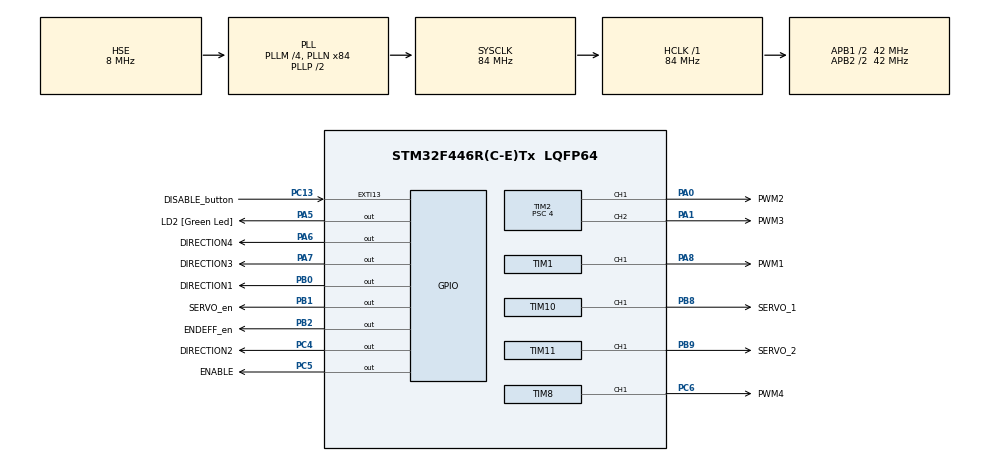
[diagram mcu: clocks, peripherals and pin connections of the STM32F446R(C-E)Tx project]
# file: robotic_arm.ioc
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Mcu.Family=STM32F4
Mcu.Name=STM32F446R(C-E)Tx
Mcu.Package=LQFP64
NVIC.EXTI15_10_IRQn=true\:0\:0\:true\:false\:true\:true\:true\:true
NVIC.PriorityGroup=NVIC_PRIORITYGROUP_1
NVIC.TIM1_CC_IRQn=true\:1\:0\:true\:false\:true\:true\:true\:true
NVIC.TIM2_IRQn=true\:1\:0\:true\:false\:true\:true\:true\:true
NVIC.TIM8_BRK_TIM12_IRQn=true\:1\:0\:true\:false\:true\:true\:true\:true
NVIC.TIM8_CC_IRQn=true\:1\:0\:true\:false\:true\:true\:true\:true
NVIC.TIM8_TRG_COM_TIM14_IRQn=true\:1\:0\:true\:false\:true\:true\:true\:true
NVIC.TIM8_UP_TIM13_IRQn=true\:1\:0\:true\:false\:true\:true\:true\:true
PA0-WKUP.GPIO_Label=PWM2
PA0-WKUP.Signal=S_TIM2_CH1_ETR
PA1.GPIO_Label=PWM3
PA1.Signal=S_TIM2_CH2
PA13.GPIO_Label=TMS
PA13.Mode=Serial_Wire
PA13.Signal=SYS_JTMS-SWDIO
PA14.GPIO_Label=TCK
PA14.Mode=Serial_Wire
PA14.Signal=SYS_JTCK-SWCLK
PA2.GPIO_Label=USART_TX
PA2.Signal=USART2_TX
PA5.GPIO_Label=LD2 [Green Led]
PA5.Signal=GPIO_Output
PA6.GPIO_Label=DIRECTION4
PA6.GPIO_PuPd=GPIO_PULLDOWN
PA6.Signal=GPIO_Output
PA7.GPIO_Label=DIRECTION3
PA7.GPIO_PuPd=GPIO_PULLDOWN
PA7.Signal=GPIO_Output
PA8.GPIO_Label=PWM1
PA8.Signal=S_TIM1_CH1
PB0.GPIO_Label=DIRECTION1
PB0.GPIO_ModeDefaultOutputPP=GPIO_MODE_OUTPUT_PP
PB0.GPIO_PuPd=GPIO_PULLDOWN
PB0.Signal=GPIO_Output
PB1.GPIO_Label=SERVO_en
PB1.GPIO_PuPd=GPIO_PULLDOWN
PB1.PinState=GPIO_PIN_RESET
PB1.Signal=GPIO_Output
PB2.GPIO_Label=ENDEFF_en
PB2.GPIO_PuPd=GPIO_PULLUP
PB2.PinState=GPIO_PIN_SET
PB2.Signal=GPIO_Output
PB3.GPIO_Label=SWO
PB3.Signal=SYS_JTDO-SWO
PB8.GPIO_Label=SERVO_1
PB8.Signal=S_TIM10_CH1
PB9.GPIO_Label=SERVO_2
PB9.Signal=S_TIM11_CH1
PC13.GPIO_Label=DISABLE_button
PC13.Signal=GPXTI13
PC14-OSC32_IN.Mode=LSE-External-Oscillator
PC14-OSC32_IN.Signal=RCC_OSC32_IN
PC15-OSC32_OUT.Mode=LSE-External-Oscillator
PC15-OSC32_OUT.Signal=RCC_OSC32_OUT
PC4.GPIO_Label=DIRECTION2
PC4.GPIO_PuPd=GPIO_PULLDOWN
PC4.Signal=GPIO_Output
PC5.GPIO_Label=ENABLE
PC5.GPIO_PuPd=GPIO_PULLUP
PC5.GPIO_Speed=GPIO_SPEED_FREQ_HIGH
PC5.PinState=GPIO_PIN_SET
PC5.Signal=GPIO_Output
PC6.GPIO_Label=PWM4
PC6.Signal=S_TIM8_CH1
PH0-OSC_IN.Mode=HSE-External-Oscillator
PH0-OSC_IN.Signal=RCC_OSC_IN
PH1-OSC_OUT.Mode=HSE-External-Oscillator
PH1-OSC_OUT.Signal=RCC_OSC_OUT
ProjectManager.HeapSize=0x200
ProjectManager.StackSize=0x400
ProjectManager.TargetToolchain=STM32CubeIDE
RCC.48MHZClocksFreq_Value=84000000
RCC.AHBFreq_Value=84000000
RCC.APB1CLKDivider=RCC_HCLK_DIV2
RCC.APB1Freq_Value=42000000
RCC.APB1TimFreq_Value=84000000
RCC.APB2CLKDivider=RCC_HCLK_DIV2
RCC.APB2Freq_Value=42000000
RCC.APB2TimFreq_Value=84000000
RCC.CortexFreq_Value=84000000
RCC.FLatency-AdvancedSettings=FLASH_LATENCY_2
RCC.HCLKFreq_Value=84000000
RCC.HSE_VALUE=8000000
RCC.HSI_VALUE=16000000
RCC.PLLM=4
RCC.PLLN=84
RCC.PLLSourceVirtual=RCC_PLLSOURCE_HSE
RCC.SYSCLKFreq_VALUE=84000000
RCC.SYSCLKSource=RCC_SYSCLKSOURCE_PLLCLK
RCC.USBFreq_Value=84000000
RCC.VCOOutputFreq_Value=168000000
SH.S_TIM10_CH1.0=TIM10_CH1,PWM Generation1 CH1
SH.S_TIM11_CH1.0=TIM11_CH1,PWM Generation1 CH1
SH.S_TIM1_CH1.0=TIM1_CH1,PWM Generation1 CH1
SH.S_TIM2_CH1_ETR.0=TIM2_CH1,PWM Generation1 CH1
SH.S_TIM2_CH2.0=TIM2_CH2,PWM Generation2 CH2
SH.S_TIM8_CH1.0=TIM8_CH1,PWM Generation1 CH1
TIM1.AutoReloadPreload=TIM_AUTORELOAD_PRELOAD_ENABLE
TIM1.Channel-PWM\ Generation1\ CH1=TIM_CHANNEL_1
TIM1.OCFastMode_PWM-PWM\ Generation1\ CH1=TIM_OCFAST_ENABLE
TIM1.Period=65535
TIM1.Prescaler=4
TIM1.Pulse-PWM\ Generation1\ CH1=32768
TIM1.TIM_MasterOutputTrigger=TIM_TRGO_UPDATE
TIM1.TIM_MasterSlaveMode=TIM_MASTERSLAVEMODE_ENABLE
TIM10.AutoReloadPreload=TIM_AUTORELOAD_PRELOAD_ENABLE
TIM10.Channel=TIM_CHANNEL_1
TIM10.OCFastMode_PWM=TIM_OCFAST_ENABLE
TIM10.Pulse=1
TIM11.AutoReloadPreload=TIM_AUTORELOAD_PRELOAD_ENABLE
TIM11.Channel=TIM_CHANNEL_1
TIM11.OCFastMode_PWM=TIM_OCFAST_ENABLE
TIM11.Pulse=1
TIM2.AutoReloadPreload=TIM_AUTORELOAD_PRELOAD_ENABLE
TIM2.Channel-PWM\ Generation1\ CH1=TIM_CHANNEL_1
TIM2.Channel-PWM\ Generation2\ CH2=TIM_CHANNEL_2
TIM2.OCFastMode_PWM-PWM\ Generation1\ CH1=TIM_OCFAST_ENABLE
TIM2.OCFastMode_PWM-PWM\ Generation2\ CH2=TIM_OCFAST_ENABLE
TIM2.Period=65535
TIM2.Prescaler=4
TIM2.Pulse-PWM\ Generation1\ CH1=32768
TIM2.Pulse-PWM\ Generation2\ CH2=32768
TIM2.TIM_MasterOutputTrigger=TIM_TRGO_UPDATE
TIM2.TIM_MasterSlaveMode=TIM_MASTERSLAVEMODE_ENABLE
TIM3.AutoReloadPreload=TIM_AUTORELOAD_PRELOAD_ENABLE
TIM3.CounterMode=TIM_COUNTERMODE_UP
TIM3.Period=199
TIM3.Prescaler=65535
TIM3.TIM_MasterOutputTrigger=TIM_TRGO_RESET
TIM3.TIM_MasterSlaveMode=TIM_MASTERSLAVEMODE_DISABLE
TIM4.AutoReloadPreload=TIM_AUTORELOAD_PRELOAD_ENABLE
TIM4.Period=199
TIM4.Prescaler=65535
TIM5.AutoReloadPreload=TIM_AUTORELOAD_PRELOAD_DISABLE
TIM5.Period=199
TIM5.Prescaler=65535
TIM5.TIM_MasterOutputTrigger=TIM_TRGO_RESET
TIM5.TIM_MasterSlaveMode=TIM_MASTERSLAVEMODE_DISABLE
TIM6.Period=59999
TIM6.Prescaler=1400*3
TIM8.AutoReloadPreload=TIM_AUTORELOAD_PRELOAD_ENABLE
TIM8.Channel-PWM\ Generation1\ CH1=TIM_CHANNEL_1
TIM8.OCFastMode_PWM-PWM\ Generation1\ CH1=TIM_OCFAST_ENABLE
TIM8.Period=65535
TIM8.Prescaler=4
TIM8.Pulse-PWM\ Generation1\ CH1=32768
TIM8.TIM_MasterOutputTrigger=TIM_TRGO_UPDATE
TIM8.TIM_MasterSlaveMode=TIM_MASTERSLAVEMODE_ENABLE
VP_TIM10_VS_ClockSourceINT.Mode=Enable_Timer
VP_TIM11_VS_ClockSourceINT.Mode=Enable_Timer
VP_TIM1_VS_ClockSourceINT.Mode=Internal
VP_TIM2_VS_ClockSourceINT.Mode=Internal
VP_TIM3_VS_ClockSourceINT.Mode=Internal
VP_TIM3_VS_ClockSourceITR.Mode=TriggerSource_ITR1
VP_TIM3_VS_ControllerModeTrigger.Mode=Trigger Mode
VP_TIM4_VS_ClockSourceINT.Mode=Internal
VP_TIM4_VS_ClockSourceITR.Mode=TriggerSource_ITR0
VP_TIM4_VS_ControllerModeTrigger.Mode=Trigger Mode
VP_TIM5_VS_ClockSourceINT.Mode=Internal
VP_TIM5_VS_ClockSourceITR.Mode=TriggerSource_ITR3
VP_TIM5_VS_ControllerModeTrigger.Mode=Trigger Mode
VP_TIM6_VS_ClockSourceINT.Mode=Enable_Timer
VP_TIM8_VS_ClockSourceINT.Mode=Internal
board=NUCLEO-F446RE

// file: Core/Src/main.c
/* USER CODE BEGIN Header */
/**
 ******************************************************************************
 * @file           : main.c
 * @brief          : Main program body
 ******************************************************************************
 * @attention
 *
 * Copyright (c) 2025 STMicroelectronics.
 * All rights reserved.
 *
 * This software is licensed under terms that can be found in the LICENSE file
 * in the root directory of this software component.
 * If no LICENSE file comes with this software, it is provided AS-IS.
 *
 ******************************************************************************
 */
/* USER CODE END Header */
#include "main.h"
#include "tim.h"
#include "gpio.h"

/* USER CODE BEGIN Includes */
#include "stepper.h"
#include "servo.h"
#include "end_eff_gpio.h"

#define TRAPEZOIDAL_PROFILE //COMMENT THIS IF YOU DON'T WANT THIS MOTION PROFILE FOR THE STEPPERS

#ifdef TRAPEZOIDAL_PROFILE
#include "trapezoidal_profile.h"
#include "trapezoidal_profile.c"
#endif

#ifndef TRAPEZOIDAL_PROFILE
#include "stp_callback.c"
#endif

/* USER CODE END Includes */

/* USER CODE BEGIN PV */
static stepper_obj stp1;
static stepper_obj stp2;
static stepper_obj stp3;
static stepper_obj stp4;
static servo_obj srv1;
static servo_obj srv2;

/* USER CODE END PV */

void SystemClock_Config(void);

int main(void) {

	/* MCU Configuration--------------------------------------------------------*/

	/* Reset of all peripherals, Initializes the Flash interface and the Systick. */
	HAL_Init();

	/* Configure the system clock */
	SystemClock_Config();

	/* Initialize all configured peripherals */
	MX_GPIO_Init();
	MX_TIM3_Init();
	MX_TIM5_Init();
	MX_TIM1_Init();
	MX_TIM2_Init();
	MX_TIM4_Init();
	MX_TIM8_Init();
	MX_TIM10_Init();
	MX_TIM11_Init();
	MX_TIM6_Init();
	/* USER CODE BEGIN 2 */
	HAL_TIM_Base_Start(&htim4); //start timer 1st joint
	HAL_TIM_Base_Start(&htim3); //start timer 2nd joint
	HAL_TIM_Base_Start(&htim5); //start timer 3rd joint

	HAL_GPIO_WritePin(ENABLE_GPIO_Port, ENABLE_Pin, GPIO_PIN_RESET); //ENABLE stepper motors

	/* stepper_init(obj, timer pwm, timer slave, resol, microstep, enable_port, direction_port */
	stepper_init(&stp1, &htim1, &htim4, 1.8, 4 * 4.27, DIRECTION1_GPIO_Port,
	DIRECTION1_Pin);
	stepper_init(&stp2, &htim2, &htim3, 1.8, 4 * 6, DIRECTION2_GPIO_Port,
	DIRECTION2_Pin);
	stepper_init(&stp3, &htim2, &htim3, 1.8, 4 * 6, DIRECTION3_GPIO_Port,
	DIRECTION3_Pin);
	stepper_init(&stp4, &htim8, &htim5, 1.8, 8 * 4.9, DIRECTION4_GPIO_Port,
	DIRECTION4_Pin);

	//servo: default position 0° in the range {-90,+90}
	/*servo_init(obj, timer pwm)*/
	servo_init(&srv1, &htim10);
	servo_init(&srv2, &htim11);

	stepper_move(&stp2, CLOCKWISE, 90, 10);
	stepper_move(&stp3, COUNTERCLOCKWISE, 90, 10);

	stepper_move(&stp4, CLOCKWISE, 20, 40);
	servo_move(&srv2, -20);

	end_eff_config(0, &htim6);

	HAL_Delay(3000);

	stepper_move(&stp2, COUNTERCLOCKWISE, 50, 10);
	stepper_move(&stp3, CLOCKWISE, 50, 10);

	stepper_move(&stp1, COUNTERCLOCKWISE, 60, 60);

	stepper_move(&stp4, CLOCKWISE, 40, 40);

	servo_move(&srv2, 0);

	HAL_Delay(3000);

	end_eff_config(0, &htim6);

	stepper_move(&stp1, CLOCKWISE, 60, 60);
	stepper_move(&stp4, COUNTERCLOCKWISE, 60, 60);

	stepper_move(&stp2, COUNTERCLOCKWISE, 40, 10);
	stepper_move(&stp3, CLOCKWISE, 40, 10);

	/* USER CODE END 2 */

	/* Infinite loop */
	while (1) {

	}
}

void SystemClock_Config(void) {
	RCC_OscInitTypeDef RCC_OscInitStruct = { 0 };
	RCC_ClkInitTypeDef RCC_ClkInitStruct = { 0 };

	/** Configure the main internal regulator output voltage
	 */
	__HAL_RCC_PWR_CLK_ENABLE();
	__HAL_PWR_VOLTAGESCALING_CONFIG(PWR_REGULATOR_VOLTAGE_SCALE3);

	/** Initializes the RCC Oscillators according to the specified parameters
	 * in the RCC_OscInitTypeDef structure.
	 */
	RCC_OscInitStruct.OscillatorType = RCC_OSCILLATORTYPE_HSE;
	RCC_OscInitStruct.HSEState = RCC_HSE_ON;
	RCC_OscInitStruct.PLL.PLLState = RCC_PLL_ON;
	RCC_OscInitStruct.PLL.PLLSource = RCC_PLLSOURCE_HSE;
	RCC_OscInitStruct.PLL.PLLM = 4;
	RCC_OscInitStruct.PLL.PLLN = 84;
	RCC_OscInitStruct.PLL.PLLP = RCC_PLLP_DIV2;
	RCC_OscInitStruct.PLL.PLLQ = 2;
	RCC_OscInitStruct.PLL.PLLR = 2;
	if (HAL_RCC_OscConfig(&RCC_OscInitStruct) != HAL_OK) {
		Error_Handler();
	}

	/** Initializes the CPU, AHB and APB buses clocks
	 */
	RCC_ClkInitStruct.ClockType = RCC_CLOCKTYPE_HCLK | RCC_CLOCKTYPE_SYSCLK
			| RCC_CLOCKTYPE_PCLK1 | RCC_CLOCKTYPE_PCLK2;
	RCC_ClkInitStruct.SYSCLKSource = RCC_SYSCLKSOURCE_PLLCLK;
	RCC_ClkInitStruct.AHBCLKDivider = RCC_SYSCLK_DIV1;
	RCC_ClkInitStruct.APB1CLKDivider = RCC_HCLK_DIV2;
	RCC_ClkInitStruct.APB2CLKDivider = RCC_HCLK_DIV2;

	if (HAL_RCC_ClockConfig(&RCC_ClkInitStruct, FLASH_LATENCY_2) != HAL_OK) {
		Error_Handler();
	}
}

void Error_Handler(void) {
	__disable_irq();
	while (1) {
	}
}
